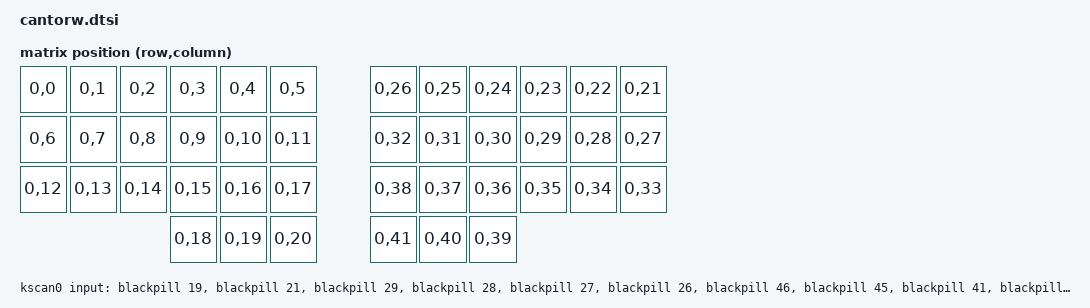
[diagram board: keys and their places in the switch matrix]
#include <dt-bindings/zmk/matrix_transform.h>
#include "cantorw-layouts.dtsi"

&physical_layout0 {
	kscan = <&kscan0>;
	transform = <&default_transform>;
};

/ {
	chosen {
		zmk,kscan = &kscan0;
//		zmk,matrix-transform = &default_transform;
		zmk,physical-layout = &physical_layout0;
	};

	default_transform: matrix_transform {
		compatible = "zmk,matrix-transform";
		columns = <42>;
		rows = <1>;
		map = <
			RC(0,0)		RC(0,1)		RC(0,2)		RC(0,3)		RC(0,4)		RC(0,5)			RC(0,26)	RC(0,25)	RC(0,24)	RC(0,23)	RC(0,22)	RC(0,21)
			RC(0,6)		RC(0,7)		RC(0,8)		RC(0,9)		RC(0,10)	RC(0,11)		RC(0,32)	RC(0,31)	RC(0,30)	RC(0,29)	RC(0,28)	RC(0,27)
			RC(0,12)	RC(0,13)	RC(0,14)	RC(0,15)	RC(0,16)	RC(0,17)		RC(0,38)	RC(0,37)	RC(0,36)	RC(0,35)	RC(0,34)	RC(0,33)
												RC(0,18)	RC(0,19)	RC(0,20)		RC(0,41)	RC(0,40)	RC(0,39)
		>;
	};

	kscan0: kscan {
		compatible = "zmk,kscan-gpio-direct";
		wakeup-source;

		input-gpios
		= <&blackpill 19 (GPIO_ACTIVE_LOW | GPIO_PULL_UP )>
		, <&blackpill 21 (GPIO_ACTIVE_LOW | GPIO_PULL_UP )>
		, <&blackpill 29 (GPIO_ACTIVE_LOW | GPIO_PULL_UP )>
		, <&blackpill 28 (GPIO_ACTIVE_LOW | GPIO_PULL_UP )>
		, <&blackpill 27 (GPIO_ACTIVE_LOW | GPIO_PULL_UP )>
		, <&blackpill 26 (GPIO_ACTIVE_LOW | GPIO_PULL_UP )>

		, <&blackpill 46 (GPIO_ACTIVE_LOW | GPIO_PULL_UP )>
		, <&blackpill 45 (GPIO_ACTIVE_LOW | GPIO_PULL_UP )>
		, <&blackpill 41 (GPIO_ACTIVE_LOW | GPIO_PULL_UP )>
		, <&blackpill 40 (GPIO_ACTIVE_LOW | GPIO_PULL_UP )>
		, <&blackpill 39 (GPIO_ACTIVE_LOW | GPIO_PULL_UP )>
		, <&blackpill 38 (GPIO_ACTIVE_LOW | GPIO_PULL_UP )>

		, <&blackpill 13 (GPIO_ACTIVE_LOW | GPIO_PULL_UP )>
		, <&blackpill 14 (GPIO_ACTIVE_LOW | GPIO_PULL_UP )>
		, <&blackpill 15 (GPIO_ACTIVE_LOW | GPIO_PULL_UP )>
		, <&blackpill 16 (GPIO_ACTIVE_LOW | GPIO_PULL_UP )>
		, <&blackpill 17 (GPIO_ACTIVE_LOW | GPIO_PULL_UP )>
		, <&blackpill 18 (GPIO_ACTIVE_LOW | GPIO_PULL_UP )>

		, <&blackpill 12 (GPIO_ACTIVE_LOW | GPIO_PULL_UP )>
		, <&blackpill 11 (GPIO_ACTIVE_LOW | GPIO_PULL_UP )>
		, <&blackpill 10 (GPIO_ACTIVE_LOW | GPIO_PULL_UP )>
		;

	};

	wakeup_scan: wakeup_scan {
		compatible = "zmk,gpio-key-wakeup-trigger";
		wakeup-source;
		trigger = <&blackpill 39 (GPIO_ACTIVE_LOW | GPIO_PULL_UP>;
	};

	soft_off_wakers {
		compatible = "zmk,soft-off-wakeup-sources";
		wakeup-sources = <&wakeup_scan>;
	};

};

